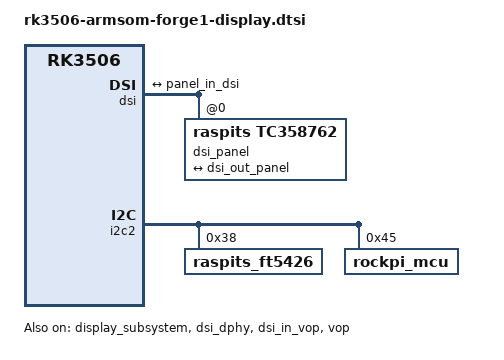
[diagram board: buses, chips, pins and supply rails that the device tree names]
&dsi {
	status = "okay";
};

&display_subsystem {
	logo-memory-region = <&drm_logo>;
	status = "okay";
};

&dsi {
	status = "okay";
	#address-cells = <1>;
	#size-cells = <0>;
	rockchip,lane-rate = <605>;

	dsi_panel: dsi-panel@0 {
		compatible = "raspits,tc358762";
		reg = <0x0>;
		status = "okay";

		ports {
			#address-cells = <1>;
			#size-cells = <0>;

			port@0 {
				reg = <0>;
				panel_in_dsi: endpoint {
					remote-endpoint = <&dsi_out_panel>;
				};
			};
		};
	};

	ports {
		#address-cells = <1>;
		#size-cells = <0>;

		port@1 {
			reg = <1>;
			dsi_out_panel: endpoint {
				remote-endpoint = <&panel_in_dsi>;
			};
		};
	};
};

&dsi_dphy {
	status = "okay";
};

&dsi_in_vop {
	status = "okay";
};

&vop {
	status = "okay";
};

&i2c2 {
	pinctrl-names = "default";
	pinctrl-0 = <&rm_io4_i2c2_scl &rm_io5_i2c2_sda>;
	status = "okay";
	#address-cells = <1>;
	#size-cells = <0>;

	raspits_ft5426: raspits_ft5426@38 {
		compatible = "raspits_ft5426";
		reg = <0x38>;
	};

	rockpi_mcu: rockpi-mcu@45 {
		compatible = "rockpi_mcu";
		reg = <0x45>;
	};
};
